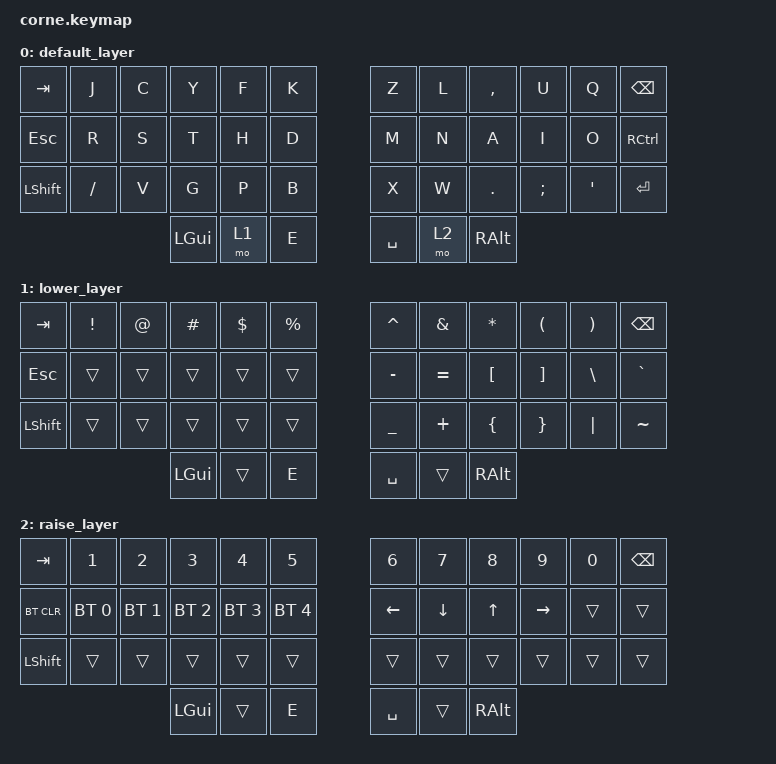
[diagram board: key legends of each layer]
/*
 * Copyright (c) 2020 The ZMK Contributors
 *
 * SPDX-License-Identifier: MIT
 */

#include <behaviors.dtsi>
#include <dt-bindings/zmk/bt.h>
#include <dt-bindings/zmk/keys.h>

/ {
    keymap {
        compatible = "zmk,keymap";

        default_layer {
            // -----------------------------------------------------------------------------------------
            // |  TAB |  Q  |  W  |  E  |  R  |  T  |   |  Y  |  U   |  I  |  O  |  P  | BKSP |
            // | CTRL |  A  |  S  |  D  |  F  |  G  |   |  H  |  J   |  K  |  L  |  ;  |  '   |
            // | SHFT |  Z  |  X  |  C  |  V  |  B  |   |  N  |  M   |  ,  |  .  |  /  | ESC  |
            //                    | GUI | LWR | SPC |   | ENT | RSE  | ALT |

            bindings = <
&kp TAB         &kp J      &kp C  &kp Y     &kp F  &kp K    &kp Z      &kp L  &kp COMMA   &kp U          &kp Q           &kp BSPC
&kp ESCAPE      &kp R      &kp S  &kp T     &kp H  &kp D    &kp M      &kp N  &kp A       &kp I          &kp O           &kp RIGHT_CONTROL
&kp LEFT_SHIFT  &kp SLASH  &kp V  &kp G     &kp P  &kp B    &kp X      &kp W  &kp PERIOD  &kp SEMICOLON  &kp APOSTROPHE  &kp RETURN
                                  &kp LGUI  &mo 1  &kp E    &kp SPACE  &mo 2  &kp RALT
            >;
        };

        lower_layer {
            // -----------------------------------------------------------------------------------------
            // |  TAB |  !  |  @  |  #  |  $  |  %  |   |  ^  |  &  |  *  |  (  |  )  | BKSP |
            // | CTRL |     |     |     |     |     |   |  -  |  =  |  [  |  ]  |  \  |  `   |
            // | SHFT |     |     |     |     |     |   |  _  |  +  |  {  |  }  | "|" |  ~   |
            //                    | GUI |     | SPC |   | ENT |     | ALT |

            bindings = <
&kp TAB         &kp EXCL  &kp AT  &kp HASH  &kp DLLR  &kp PRCNT    &kp CARET  &kp AMPS   &kp ASTRK  &kp LPAR  &kp RPAR  &kp BSPC
&kp ESCAPE      &trans    &trans  &trans    &trans    &trans       &kp MINUS  &kp EQUAL  &kp LBKT   &kp RBKT  &kp BSLH  &kp GRAVE
&kp LEFT_SHIFT  &trans    &trans  &trans    &trans    &trans       &kp UNDER  &kp PLUS   &kp LBRC   &kp RBRC  &kp PIPE  &kp TILDE
                                  &kp LGUI  &trans    &kp E        &kp SPACE  &trans     &kp RALT
            >;
        };

        raise_layer {
            // -----------------------------------------------------------------------------------------
            // |  TAB |  1  |  2  |  3  |  4  |  5  |   |  6  |  7  |  8  |  9  |  0  | BKSP |
            // | BTCLR| BT1 | BT2 | BT3 | BT4 | BT5 |   | LFT | DWN |  UP | RGT |     |      |
            // | SHFT |     |     |     |     |     |   |     |     |     |     |     |      |
            //                    | GUI |     | SPC |   | ENT |     | ALT |

            bindings = <
&kp TAB         &kp N1        &kp N2        &kp N3        &kp N4        &kp N5          &kp N6     &kp N7    &kp N8    &kp N9     &kp N0  &kp BSPC
&bt BT_CLR      &bt BT_SEL 0  &bt BT_SEL 1  &bt BT_SEL 2  &bt BT_SEL 3  &bt BT_SEL 4    &kp LEFT   &kp DOWN  &kp UP    &kp RIGHT  &trans  &trans
&kp LEFT_SHIFT  &trans        &trans        &trans        &trans        &trans          &trans     &trans    &trans    &trans     &trans  &trans
                                            &kp LGUI      &trans        &kp E           &kp SPACE  &trans    &kp RALT
            >;
        };
    };
};
